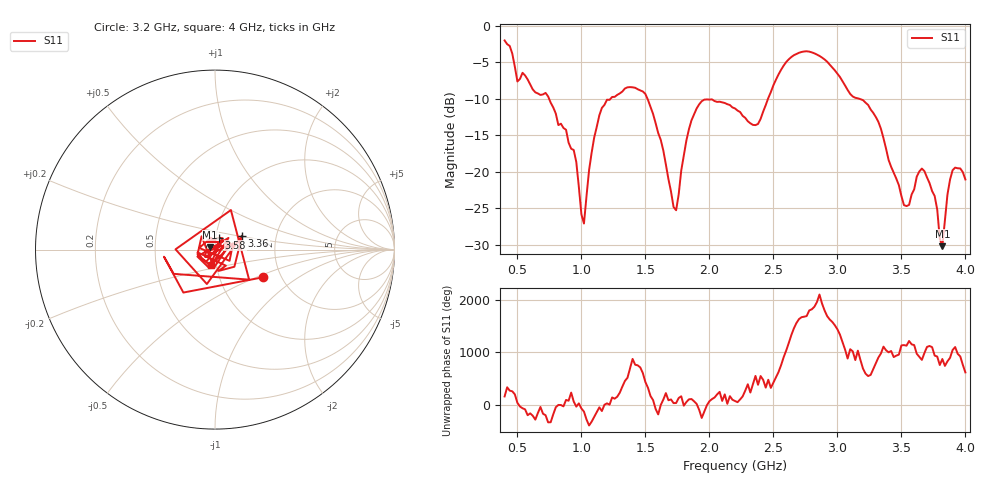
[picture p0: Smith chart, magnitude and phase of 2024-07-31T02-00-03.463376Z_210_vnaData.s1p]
!Created with skrf (http://scikit-rf.org).
# Hz S RI R 50.0
!freq ReS11 ImS11
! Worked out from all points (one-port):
!   181 points, 400 MHz to 4 GHz, reference 50 ohm
!   lowest |S11| = -30.2 dB at 3.82 GHz (marker M1), VSWR 1.06, Z = 47.3 + j1.36 ohm
!   |S11| at or under -10 dB: 747.4 MHz to 1.228 GHz (480.2 MHz wide, 48.6 % of centre); 1.516 GHz to 2.458 GHz (941.8 MHz wide, 47.4 % of centre); 3.17 GHz to end of sweep
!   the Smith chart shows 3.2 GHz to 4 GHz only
!   S11 on the Smith chart (normalised r, x): 3.2 GHz: 1.62, -0.55; 3.36 GHz: 1.34, +0.21; 3.58 GHz: 1.04, +0.14; 4 GHz: 0.95, -0.17
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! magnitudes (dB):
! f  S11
! 400 MHz  -2.0
! 500 MHz  -7.6
! 720 MHz  -9.2
! 860 MHz  -14.0
! 940 MHz  -17.0
! 1.02 GHz  -27.1
! 1.06 GHz  -19.8
! 1.14 GHz  -12.3
! 1.3 GHz  -9.3
! 1.5 GHz  -9.4
! 1.72 GHz  -24.8
! 1.76 GHz  -23.1
! 1.84 GHz  -14.2
! 1.92 GHz  -10.8
! 2.2 GHz  -11.3
! 2.38 GHz  -13.4
! 2.66 GHz  -4.0
! 2.88 GHz  -4.4
! 3.1 GHz  -9.3
! 3.2 GHz  -10.2
! 3.36 GHz  -15.4
! 3.56 GHz  -24.5
! 3.58 GHz  -23.1
! 3.68 GHz  -19.9
! 3.76 GHz  -23.3
! 3.82 GHz  -30.2
! 3.9 GHz  -19.8
! 4 GHz  -21.0
